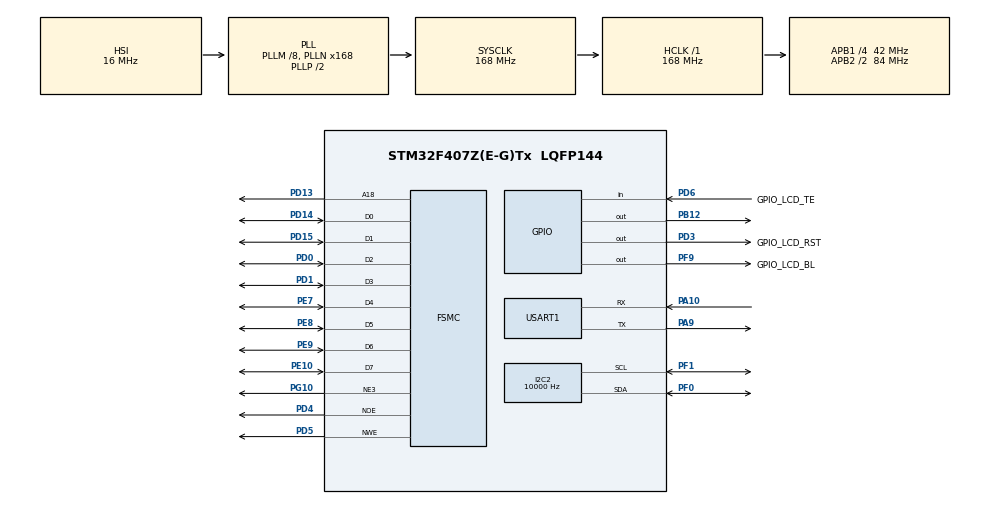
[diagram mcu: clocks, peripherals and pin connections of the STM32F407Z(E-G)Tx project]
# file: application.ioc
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FSMC.BusTurnAroundDuration3=0
FSMC.DataSetupTime3=60
FSMC.ExtendedAddressSetupTime3=9
FSMC.ExtendedBusTurnAroundDuration3=0
FSMC.ExtendedDataSetupTime3=8
FSMC.ExtendedMode3=FSMC_EXTENDED_MODE_ENABLE
I2C2.ClockSpeed=10000
Mcu.Family=STM32F4
Mcu.Name=STM32F407Z(E-G)Tx
Mcu.Package=LQFP144
NVIC.PriorityGroup=NVIC_PRIORITYGROUP_4
NVIC.USART1_IRQn=true\:7\:0\:true\:false\:true\:true\:true\:true
PA10.Mode=Asynchronous
PA10.Signal=USART1_RX
PA13.Mode=Serial_Wire
PA13.Signal=SYS_JTMS-SWDIO
PA14.Mode=Serial_Wire
PA14.Signal=SYS_JTCK-SWCLK
PA9.Mode=Asynchronous
PA9.Signal=USART1_TX
PB12.GPIO_ModeDefaultOutputPP=GPIO_MODE_OUTPUT_PP
PB12.GPIO_Speed=GPIO_SPEED_FREQ_HIGH
PB12.PinState=GPIO_PIN_SET
PB12.Signal=GPIO_Output
PC14-OSC32_IN.Mode=LSE-External-Oscillator
PC14-OSC32_IN.Signal=RCC_OSC32_IN
PC15-OSC32_OUT.Mode=LSE-External-Oscillator
PC15-OSC32_OUT.Signal=RCC_OSC32_OUT
PD0.Signal=FSMC_D2_DA2
PD1.Signal=FSMC_D3_DA3
PD13.Signal=FSMC_A18
PD14.Signal=FSMC_D0_DA0
PD15.Signal=FSMC_D1_DA1
PD3.GPIO_Label=GPIO_LCD_RST
PD3.Signal=GPIO_Output
PD4.Signal=FSMC_NOE
PD5.Signal=FSMC_NWE
PD6.GPIO_Label=GPIO_LCD_TE
PD6.Signal=GPIO_Input
PE10.Signal=FSMC_D7_DA7
PE7.Signal=FSMC_D4_DA4
PE8.Signal=FSMC_D5_DA5
PE9.Signal=FSMC_D6_DA6
PF0.Mode=I2C
PF0.Signal=I2C2_SDA
PF1.Mode=I2C
PF1.Signal=I2C2_SCL
PF9.GPIO_Label=GPIO_LCD_BL
PF9.Signal=GPIO_Output
PG10.Mode=NorPsramChipSelect3_3
PG10.Signal=FSMC_NE3
PH0-OSC_IN.Mode=HSE-External-Oscillator
PH0-OSC_IN.Signal=RCC_OSC_IN
PH1-OSC_OUT.Mode=HSE-External-Oscillator
PH1-OSC_OUT.Signal=RCC_OSC_OUT
ProjectManager.HeapSize=0x2000
ProjectManager.StackSize=0x1200
ProjectManager.TargetToolchain=CMake
RCC.48MHZClocksFreq_Value=84000000
RCC.AHBFreq_Value=168000000
RCC.APB1CLKDivider=RCC_HCLK_DIV4
RCC.APB1Freq_Value=42000000
RCC.APB1TimFreq_Value=84000000
RCC.APB2CLKDivider=RCC_HCLK_DIV2
RCC.APB2Freq_Value=84000000
RCC.APB2TimFreq_Value=168000000
RCC.CortexFreq_Value=168000000
RCC.HCLKFreq_Value=168000000
RCC.HSE_VALUE=8000000
RCC.HSI_VALUE=16000000
RCC.PLLM=8
RCC.PLLN=168
RCC.SYSCLKFreq_VALUE=168000000
RCC.SYSCLKSource=RCC_SYSCLKSOURCE_PLLCLK
RCC.VCOOutputFreq_Value=336000000
SH.FSMC_A18.0=FSMC_A18,A18_3
SH.FSMC_D0_DA0.0=FSMC_D0,8b-d3
SH.FSMC_D1_DA1.0=FSMC_D1,8b-d3
SH.FSMC_D2_DA2.0=FSMC_D2,8b-d3
SH.FSMC_D3_DA3.0=FSMC_D3,8b-d3
SH.FSMC_D4_DA4.0=FSMC_D4,8b-d3
SH.FSMC_D5_DA5.0=FSMC_D5,8b-d3
SH.FSMC_D6_DA6.0=FSMC_D6,8b-d3
SH.FSMC_D7_DA7.0=FSMC_D7,8b-d3
SH.FSMC_NOE.0=FSMC_NOE,Lcd3
SH.FSMC_NWE.0=FSMC_NWE,Lcd3
TIM2.AutoReloadPreload=TIM_AUTORELOAD_PRELOAD_ENABLE
TIM2.Period=\ 0xFFFFFFFF
TIM2.Prescaler=83
USART1.VirtualMode=VM_ASYNC
VP_TIM2_VS_ClockSourceINT.Mode=Internal
board=custom

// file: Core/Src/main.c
/* USER CODE BEGIN Header */
/**
 ******************************************************************************
 * @file           : main.c
 * @brief          : Main program body
 ******************************************************************************
 * @attention
 *
 * Copyright (c) 2025 STMicroelectronics.
 * All rights reserved.
 *
 * This software is licensed under terms that can be found in the LICENSE file
 * in the root directory of this software component.
 * If no LICENSE file comes with this software, it is provided AS-IS.
 *
 ******************************************************************************
 */
/* USER CODE END Header */
#include "main.h"

/* USER CODE BEGIN Includes */

#include "stm32f4xx_hal_uart.h"
#include <stdbool.h>
#include <stddef.h>
#include <stdint.h>

/* USER CODE END Includes */

I2C_HandleTypeDef hi2c2;

TIM_HandleTypeDef htim2;

UART_HandleTypeDef huart1;

SRAM_HandleTypeDef hsram3;

void SystemClock_Config(void);
static void MX_GPIO_Init(void);
static void MX_FSMC_Init(void);
static void MX_I2C2_Init(void);
static void MX_TIM2_Init(void);
static void MX_USART1_UART_Init(void);
/* USER CODE BEGIN PFP */
uint8_t buffer[1024];
size_t recSize = 0;
uint8_t recBuffer;
/* USER CODE END PFP */

/* USER CODE BEGIN 0 */
void HAL_UART_RxCpltCallback(UART_HandleTypeDef *huart) {
  if (huart->Instance == huart1.Instance) {
    buffer[recSize++] = recBuffer;
    if (recBuffer == '\n') {
      HAL_UART_Transmit(&huart1, buffer, recSize, 1000);
      recSize = 0;
    }
  }
  HAL_UART_Receive_IT(&huart1, &recBuffer, 1);
}
/* USER CODE END 0 */

int main(void) {

  /* MCU Configuration--------------------------------------------------------*/

  /* Reset of all peripherals, Initializes the Flash interface and the Systick.
   */
  HAL_Init();

  /* Configure the system clock */
  SystemClock_Config();

  /* Initialize all configured peripherals */
  MX_GPIO_Init();
  MX_FSMC_Init();
  MX_I2C2_Init();
  MX_TIM2_Init();
  MX_USART1_UART_Init();
  /* USER CODE BEGIN 2 */
  HAL_UART_Receive_IT(&huart1, &recBuffer, 1);
  /* USER CODE END 2 */

  /* Infinite loop */
  while (1) {

  }
}

void SystemClock_Config(void) {
  RCC_OscInitTypeDef RCC_OscInitStruct = {0};
  RCC_ClkInitTypeDef RCC_ClkInitStruct = {0};

  /** Configure the main internal regulator output voltage
   */
  __HAL_RCC_PWR_CLK_ENABLE();
  __HAL_PWR_VOLTAGESCALING_CONFIG(PWR_REGULATOR_VOLTAGE_SCALE1);

  /** Initializes the RCC Oscillators according to the specified parameters
   * in the RCC_OscInitTypeDef structure.
   */
  RCC_OscInitStruct.OscillatorType = RCC_OSCILLATORTYPE_HSI;
  RCC_OscInitStruct.HSIState = RCC_HSI_ON;
  RCC_OscInitStruct.HSICalibrationValue = RCC_HSICALIBRATION_DEFAULT;
  RCC_OscInitStruct.PLL.PLLState = RCC_PLL_ON;
  RCC_OscInitStruct.PLL.PLLSource = RCC_PLLSOURCE_HSI;
  RCC_OscInitStruct.PLL.PLLM = 8;
  RCC_OscInitStruct.PLL.PLLN = 168;
  RCC_OscInitStruct.PLL.PLLP = RCC_PLLP_DIV2;
  RCC_OscInitStruct.PLL.PLLQ = 4;
  if (HAL_RCC_OscConfig(&RCC_OscInitStruct) != HAL_OK) {
    Error_Handler();
  }

  /** Initializes the CPU, AHB and APB buses clocks
   */
  RCC_ClkInitStruct.ClockType = RCC_CLOCKTYPE_HCLK | RCC_CLOCKTYPE_SYSCLK |
                                RCC_CLOCKTYPE_PCLK1 | RCC_CLOCKTYPE_PCLK2;
  RCC_ClkInitStruct.SYSCLKSource = RCC_SYSCLKSOURCE_PLLCLK;
  RCC_ClkInitStruct.AHBCLKDivider = RCC_SYSCLK_DIV1;
  RCC_ClkInitStruct.APB1CLKDivider = RCC_HCLK_DIV4;
  RCC_ClkInitStruct.APB2CLKDivider = RCC_HCLK_DIV2;

  if (HAL_RCC_ClockConfig(&RCC_ClkInitStruct, FLASH_LATENCY_5) != HAL_OK) {
    Error_Handler();
  }
}

static void MX_I2C2_Init(void) {

  hi2c2.Instance = I2C2;
  hi2c2.Init.ClockSpeed = 10000;
  hi2c2.Init.DutyCycle = I2C_DUTYCYCLE_2;
  hi2c2.Init.OwnAddress1 = 0;
  hi2c2.Init.AddressingMode = I2C_ADDRESSINGMODE_7BIT;
  hi2c2.Init.DualAddressMode = I2C_DUALADDRESS_DISABLE;
  hi2c2.Init.OwnAddress2 = 0;
  hi2c2.Init.GeneralCallMode = I2C_GENERALCALL_DISABLE;
  hi2c2.Init.NoStretchMode = I2C_NOSTRETCH_DISABLE;
  if (HAL_I2C_Init(&hi2c2) != HAL_OK) {
    Error_Handler();
  }
}

static void MX_TIM2_Init(void) {

  TIM_ClockConfigTypeDef sClockSourceConfig = {0};
  TIM_MasterConfigTypeDef sMasterConfig = {0};

  htim2.Instance = TIM2;
  htim2.Init.Prescaler = 83;
  htim2.Init.CounterMode = TIM_COUNTERMODE_UP;
  htim2.Init.Period = 0xFFFFFFFF;
  htim2.Init.ClockDivision = TIM_CLOCKDIVISION_DIV1;
  htim2.Init.AutoReloadPreload = TIM_AUTORELOAD_PRELOAD_ENABLE;
  if (HAL_TIM_Base_Init(&htim2) != HAL_OK) {
    Error_Handler();
  }
  sClockSourceConfig.ClockSource = TIM_CLOCKSOURCE_INTERNAL;
  if (HAL_TIM_ConfigClockSource(&htim2, &sClockSourceConfig) != HAL_OK) {
    Error_Handler();
  }
  sMasterConfig.MasterOutputTrigger = TIM_TRGO_RESET;
  sMasterConfig.MasterSlaveMode = TIM_MASTERSLAVEMODE_DISABLE;
  if (HAL_TIMEx_MasterConfigSynchronization(&htim2, &sMasterConfig) != HAL_OK) {
    Error_Handler();
  }
}

static void MX_USART1_UART_Init(void) {

  huart1.Instance = USART1;
  huart1.Init.BaudRate = 115200;
  huart1.Init.WordLength = UART_WORDLENGTH_8B;
  huart1.Init.StopBits = UART_STOPBITS_1;
  huart1.Init.Parity = UART_PARITY_NONE;
  huart1.Init.Mode = UART_MODE_TX_RX;
  huart1.Init.HwFlowCtl = UART_HWCONTROL_NONE;
  huart1.Init.OverSampling = UART_OVERSAMPLING_16;
  if (HAL_UART_Init(&huart1) != HAL_OK) {
    Error_Handler();
  }
}

static void MX_GPIO_Init(void) {
  GPIO_InitTypeDef GPIO_InitStruct = {0};

  /* GPIO Ports Clock Enable */
  __HAL_RCC_GPIOC_CLK_ENABLE();
  __HAL_RCC_GPIOF_CLK_ENABLE();
  __HAL_RCC_GPIOH_CLK_ENABLE();
  __HAL_RCC_GPIOE_CLK_ENABLE();
  __HAL_RCC_GPIOB_CLK_ENABLE();
  __HAL_RCC_GPIOD_CLK_ENABLE();
  __HAL_RCC_GPIOA_CLK_ENABLE();
  __HAL_RCC_GPIOG_CLK_ENABLE();

  /*Configure GPIO pin Output Level */
  HAL_GPIO_WritePin(GPIO_LCD_BL_GPIO_Port, GPIO_LCD_BL_Pin, GPIO_PIN_RESET);

  /*Configure GPIO pin Output Level */
  HAL_GPIO_WritePin(GPIOB, GPIO_PIN_12, GPIO_PIN_SET);

  /*Configure GPIO pin Output Level */
  HAL_GPIO_WritePin(GPIO_LCD_RST_GPIO_Port, GPIO_LCD_RST_Pin, GPIO_PIN_RESET);

  /*Configure GPIO pin : GPIO_LCD_BL_Pin */
  GPIO_InitStruct.Pin = GPIO_LCD_BL_Pin;
  GPIO_InitStruct.Mode = GPIO_MODE_OUTPUT_PP;
  GPIO_InitStruct.Pull = GPIO_NOPULL;
  GPIO_InitStruct.Speed = GPIO_SPEED_FREQ_LOW;
  HAL_GPIO_Init(GPIO_LCD_BL_GPIO_Port, &GPIO_InitStruct);

  /*Configure GPIO pin : PB12 */
  GPIO_InitStruct.Pin = GPIO_PIN_12;
  GPIO_InitStruct.Mode = GPIO_MODE_OUTPUT_PP;
  GPIO_InitStruct.Pull = GPIO_NOPULL;
  GPIO_InitStruct.Speed = GPIO_SPEED_FREQ_HIGH;
  HAL_GPIO_Init(GPIOB, &GPIO_InitStruct);

  /*Configure GPIO pin : GPIO_LCD_RST_Pin */
  GPIO_InitStruct.Pin = GPIO_LCD_RST_Pin;
  GPIO_InitStruct.Mode = GPIO_MODE_OUTPUT_PP;
  GPIO_InitStruct.Pull = GPIO_NOPULL;
  GPIO_InitStruct.Speed = GPIO_SPEED_FREQ_LOW;
  HAL_GPIO_Init(GPIO_LCD_RST_GPIO_Port, &GPIO_InitStruct);

  /*Configure GPIO pin : GPIO_LCD_TE_Pin */
  GPIO_InitStruct.Pin = GPIO_LCD_TE_Pin;
  GPIO_InitStruct.Mode = GPIO_MODE_INPUT;
  GPIO_InitStruct.Pull = GPIO_NOPULL;
  HAL_GPIO_Init(GPIO_LCD_TE_GPIO_Port, &GPIO_InitStruct);

}

/* FSMC initialization function */
static void MX_FSMC_Init(void) {

  FSMC_NORSRAM_TimingTypeDef Timing = {0};
  FSMC_NORSRAM_TimingTypeDef ExtTiming = {0};

  /** Perform the SRAM3 memory initialization sequence
   */
  hsram3.Instance = FSMC_NORSRAM_DEVICE;
  hsram3.Extended = FSMC_NORSRAM_EXTENDED_DEVICE;
  /* hsram3.Init */
  hsram3.Init.NSBank = FSMC_NORSRAM_BANK3;
  hsram3.Init.DataAddressMux = FSMC_DATA_ADDRESS_MUX_DISABLE;
  hsram3.Init.MemoryType = FSMC_MEMORY_TYPE_SRAM;
  hsram3.Init.MemoryDataWidth = FSMC_NORSRAM_MEM_BUS_WIDTH_8;
  hsram3.Init.BurstAccessMode = FSMC_BURST_ACCESS_MODE_DISABLE;
  hsram3.Init.WaitSignalPolarity = FSMC_WAIT_SIGNAL_POLARITY_LOW;
  hsram3.Init.WrapMode = FSMC_WRAP_MODE_DISABLE;
  hsram3.Init.WaitSignalActive = FSMC_WAIT_TIMING_BEFORE_WS;
  hsram3.Init.WriteOperation = FSMC_WRITE_OPERATION_ENABLE;
  hsram3.Init.WaitSignal = FSMC_WAIT_SIGNAL_DISABLE;
  hsram3.Init.ExtendedMode = FSMC_EXTENDED_MODE_ENABLE;
  hsram3.Init.AsynchronousWait = FSMC_ASYNCHRONOUS_WAIT_DISABLE;
  hsram3.Init.WriteBurst = FSMC_WRITE_BURST_DISABLE;
  hsram3.Init.PageSize = FSMC_PAGE_SIZE_NONE;
  /* Timing */
  Timing.AddressSetupTime = 15;
  Timing.AddressHoldTime = 15;
  Timing.DataSetupTime = 60;
  Timing.BusTurnAroundDuration = 0;
  Timing.CLKDivision = 16;
  Timing.DataLatency = 17;
  Timing.AccessMode = FSMC_ACCESS_MODE_A;
  /* ExtTiming */
  ExtTiming.AddressSetupTime = 9;
  ExtTiming.AddressHoldTime = 15;
  ExtTiming.DataSetupTime = 8;
  ExtTiming.BusTurnAroundDuration = 0;
  ExtTiming.CLKDivision = 16;
  ExtTiming.DataLatency = 17;
  ExtTiming.AccessMode = FSMC_ACCESS_MODE_A;

  if (HAL_SRAM_Init(&hsram3, &Timing, &ExtTiming) != HAL_OK) {
    Error_Handler();
  }

}

void Error_Handler(void) {
  __disable_irq();
  while (1) {
  }
}

#ifdef USE_FULL_ASSERT
/**
 * @brief  Reports the name of the source file and the source line number
 *         where the assert_param error has occurred.
 * @param  file: pointer to the source file name
 * @param  line: assert_param error line source number
 * @retval None
 */
void assert_failed(uint8_t *file, uint32_t line) {
  /* USER CODE BEGIN 6 */
  /* User can add his own implementation to report the file name and line
     number, ex: printf("Wrong parameters value: file %s on line %d\r\n", file,
     line) */
  /* USER CODE END 6 */
}
#endif /* USE_FULL_ASSERT */
